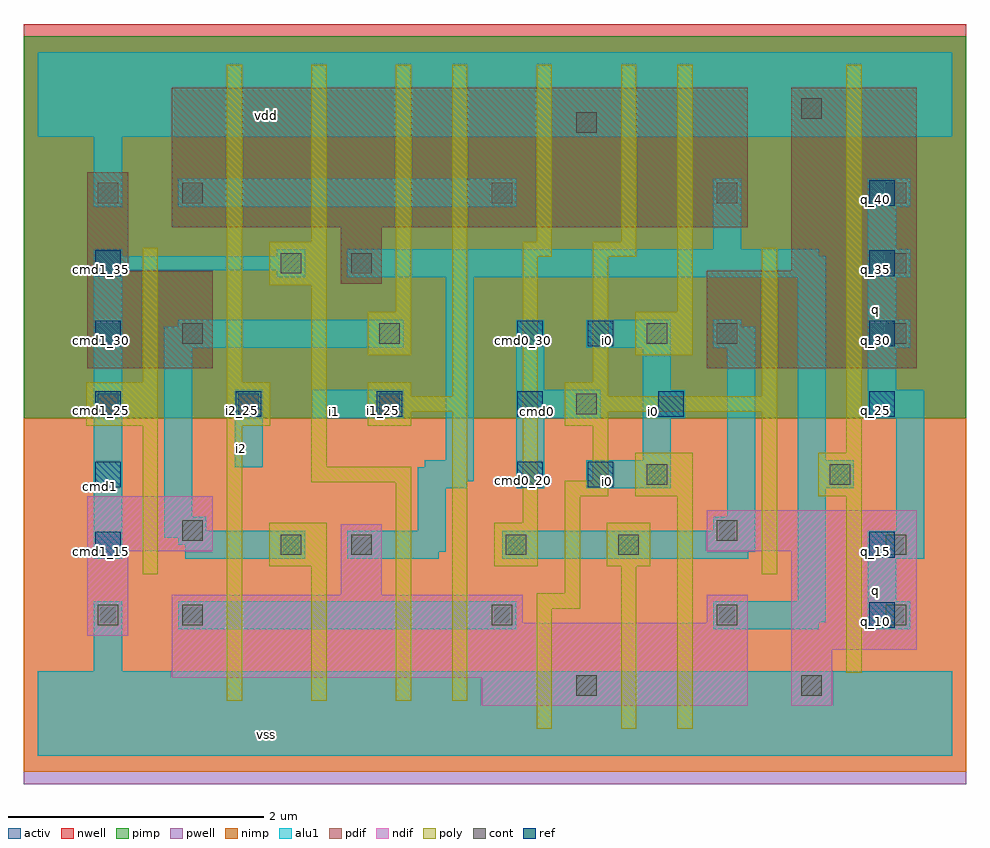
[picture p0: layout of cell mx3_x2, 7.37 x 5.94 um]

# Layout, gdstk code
import gdstk
lib = gdstk.Library(unit=1e-6, precision=2.5e-09)
def R(c, l, rs):  # rectangles x0, y0, x1, y1
    for r in rs: c.add(gdstk.rectangle(r[:2], r[2:], *l))
def A(c, l, x, y, w, h, nx, ny, dx, dy):  # array of equal rectangles
    R(c, l, [(x+i*dx, y+j*dy, x+i*dx+w, y+j*dy+h) for i in range(nx) for j in range(ny)])
ndif = (3, 0)
pdif = (4, 0)
ref = (24, 0)
cont = (25, 0)
pwell = (41, 0)
nwell = (42, 0)
activ = (43, 0)
pimp = (44, 0)
nimp = (45, 0)
poly = (46, 0)
alu1 = (49, 0)

mx3_x2 = lib.new_cell('mx3_x2')
R(mx3_x2, ndif, [(3.47,0.39,5.55,0.61), (3.47,0.39,5.55,0.61), (5.89,0.39,6.21,0.83), (5.89,0.39,6.21,0.83), (1.05,0.61,5.55,1.04), (1.05,0.61,5.55,1.04), (5.89,0.83,6.87,1.6), (5.89,0.83,6.87,1.6), (0.39,0.94,0.71,1.6), (0.39,0.94,0.71,1.6), (1.05,1.04,3.79,1.26), (1.05,1.04,3.79,1.26), (5.23,1.04,5.55,1.26), (5.23,1.04,5.55,1.26), (2.37,1.26,2.69,1.81), (2.37,1.26,2.69,1.81), (0.39,1.6,1.37,2.03), (0.39,1.6,1.37,2.03), (5.23,1.6,6.87,1.92), (5.23,1.6,6.87,1.92)])
R(mx3_x2, pdif, [(0.39,3.03,1.37,3.79), (0.39,3.03,1.37,3.79), (5.23,3.03,6.87,3.79), (5.23,3.03,6.87,3.79), (2.37,3.69,2.69,4.13), (2.37,3.69,2.69,4.13), (0.39,3.79,0.71,4.56), (0.39,3.79,0.71,4.56), (5.89,3.79,6.87,5.22), (5.89,3.79,6.87,5.22), (1.05,4.13,5.55,5.22), (1.05,4.13,5.55,5.22)])
A(mx3_x2, ref, 0.45, 2.65, 0.2, 0.2, 5, 1, 1.1, 0)
A(mx3_x2, ref, 6.5, 2.65, 0.2, 0.2, 1, 4, 0, 0.55)
R(mx3_x2, ref, [(6.5,1,6.7,1.2), (0.45,1.55,0.65,1.75), (6.5,1.55,6.7,1.75), (0.45,2.1,0.65,2.3), (3.75,2.1,3.95,2.3), (4.3,2.1,4.5,2.3), (0.45,3.2,0.65,3.4), (3.75,3.2,3.95,3.4), (4.3,3.2,4.5,3.4), (0.45,3.75,0.65,3.95)])
A(mx3_x2, cont, 4.21, 0.47, 0.16, 0.16, 1, 3, 0, 2.2)
A(mx3_x2, cont, 0.47, 2.67, 0.16, 0.16, 3, 1, 1.1, 0)
A(mx3_x2, cont, 6.63, 3.22, 0.16, 0.16, 1, 3, 0, 0.55)
R(mx3_x2, cont, [(5.97,0.47,6.13,0.63), (0.47,1.02,0.63,1.18), (1.13,1.02,1.29,1.18), (3.55,1.02,3.71,1.18), (5.31,1.02,5.47,1.18), (6.63,1.02,6.79,1.18), (1.9,1.57,2.06,1.73), (2.45,1.57,2.61,1.73), (3.66,1.57,3.82,1.73), (4.54,1.57,4.7,1.73), (6.63,1.57,6.79,1.73), (1.13,1.68,1.29,1.84), (5.31,1.68,5.47,1.84), (4.76,2.12,4.92,2.28), (6.19,2.12,6.35,2.28), (1.13,3.22,1.29,3.38), (2.67,3.22,2.83,3.38), (4.76,3.22,4.92,3.38), (5.31,3.22,5.47,3.38), (1.9,3.77,2.06,3.93), (2.45,3.77,2.61,3.93), (0.47,4.32,0.63,4.48), (1.13,4.32,1.29,4.48), (3.55,4.32,3.71,4.48), (5.31,4.32,5.47,4.48), (5.97,4.98,6.13,5.14)])
R(mx3_x2, pwell, [(-0.11,-0.22,7.26,2.64)])
R(mx3_x2, nwell, [(-0.11,2.64,7.26,5.72)])
R(mx3_x2, activ, [(3.47,0.39,5.55,0.61), (3.47,0.39,5.55,0.61), (5.89,0.39,6.21,0.83), (5.89,0.39,6.21,0.83), (1.05,0.61,5.55,1.04), (1.05,0.61,5.55,1.04), (5.89,0.83,6.87,1.6), (5.89,0.83,6.87,1.6), (0.39,0.94,0.71,1.6), (0.39,0.94,0.71,1.6), (1.05,1.04,3.79,1.26), (1.05,1.04,3.79,1.26), (5.23,1.04,5.55,1.26), (5.23,1.04,5.55,1.26), (2.37,1.26,2.69,1.81), (2.37,1.26,2.69,1.81), (0.39,1.6,1.37,2.03), (0.39,1.6,1.37,2.03), (5.23,1.6,6.87,1.92), (5.23,1.6,6.87,1.92), (0.39,3.03,1.37,3.79), (0.39,3.03,1.37,3.79), (5.23,3.03,6.87,3.79), (5.23,3.03,6.87,3.79), (2.37,3.69,2.69,4.13), (2.37,3.69,2.69,4.13), (0.39,3.79,0.71,4.56), (0.39,3.79,0.71,4.56), (5.89,3.79,6.87,5.22), (5.89,3.79,6.87,5.22), (1.05,4.13,5.55,5.22), (1.05,4.13,5.55,5.22)])
R(mx3_x2, pimp, [(-0.11,2.64,7.26,5.625)])
R(mx3_x2, nimp, [(-0.11,-0.125,7.26,2.64)])
R(mx3_x2, poly, [(3.9,0.21,4.02,1.15), (4.56,0.21,4.68,1.48), (5,0.21,5.12,2.03), (1.48,0.43,1.6,2.58), (2.14,0.43,2.26,1.48), (2.8,0.43,2.92,2.14), (3.24,0.43,3.36,2.69), (6.32,0.65,6.44,2.03), (3.9,1.15,4.24,1.27), (4.12,1.27,4.24,2.03), (0.82,1.42,0.94,2.58), (5.66,1.42,5.78,2.69), (1.81,1.48,2.26,1.82), (3.57,1.48,3.91,1.82), (4.45,1.48,4.79,1.82), (3.79,1.82,3.91,3.9), (4.12,2.03,4.46,2.15), (4.67,2.03,5.12,2.37), (6.1,2.03,6.44,2.37), (2.14,2.14,2.92,2.26), (4.34,2.15,4.46,2.58), (2.14,2.26,2.26,3.68), (6.32,2.37,6.44,5.4), (0.38,2.58,0.94,2.92), (1.48,2.58,1.82,2.92), (2.58,2.58,2.92,2.69), (4.12,2.58,4.46,2.69), (2.58,2.69,3.36,2.81), (4.12,2.69,5.78,2.81), (2.58,2.81,2.92,2.92), (3.24,2.81,3.36,5.4), (4.12,2.81,4.46,2.92), (5.66,2.81,5.78,3.97), (0.82,2.92,0.94,3.97), (1.48,2.92,1.6,5.4), (4.34,2.92,4.46,3.9), (2.58,3.13,2.92,3.47), (4.67,3.13,5.12,3.47), (2.8,3.47,2.92,5.4), (5,3.47,5.12,5.4), (1.81,3.68,2.26,4.02), (3.79,3.9,4.02,4.02), (4.34,3.9,4.68,4.02), (2.14,4.02,2.26,5.4), (3.9,4.02,4.02,5.4), (4.56,4.02,4.68,5.4)])
A(mx3_x2, alu1, 6.49, 2.86, 0.22, 0.33, 1, 3, 0, 0.55)
A(mx3_x2, alu1, 6.49, 3.19, 0.33, 0.22, 1, 3, 0, 0.55)
R(mx3_x2, alu1, [(0,0,7.15,0.66), (0.44,0.66,0.66,1.21), (1.1,0.99,3.74,1.21), (5.28,0.99,6.105,1.045), (6.49,0.99,6.82,1.21), (5.28,1.045,6.16,1.21), (5.94,1.21,6.16,2.09), (6.49,1.21,6.71,1.54), (0.44,1.54,0.66,3.795), (1.155,1.54,2.09,1.65), (2.42,1.54,3.135,1.595), (3.63,1.54,5.555,1.595), (6.49,1.54,6.93,1.76), (2.42,1.595,3.19,1.76), (3.63,1.595,5.61,1.76), (1.1,1.65,2.09,1.705), (0.99,1.705,2.09,1.76), (0.99,1.76,1.32,1.87), (2.97,1.76,3.19,2.09), (5.28,1.76,5.61,1.87), (6.71,1.76,6.93,2.64), (0.99,1.87,1.21,3.19), (5.39,1.87,5.61,3.19), (2.97,2.09,3.355,2.145), (3.74,2.09,3.96,2.64), (4.29,2.09,4.95,2.31), (5.94,2.09,6.38,2.31), (2.97,2.145,3.41,2.255), (1.54,2.255,1.76,2.86), (3.025,2.255,3.41,2.31), (3.19,2.31,3.41,3.74), (4.73,2.31,4.95,2.64), (5.94,2.31,6.16,3.74), (2.145,2.64,2.86,2.86), (3.74,2.64,4.4,2.86), (4.73,2.64,5.06,2.86), (6.49,2.64,6.93,2.86), (3.74,2.86,3.96,3.41), (4.73,2.86,4.95,3.19), (0.99,3.19,2.86,3.355), (4.29,3.19,4.95,3.41), (5.28,3.19,5.61,3.355), (1.1,3.355,2.86,3.41), (5.28,3.355,5.5,3.41), (1.87,3.74,2.09,3.795), (2.42,3.74,6.16,3.905), (0.44,3.795,2.09,3.905), (0.44,3.905,0.66,3.96), (1.87,3.905,2.09,3.96), (2.42,3.905,6.105,3.96), (5.28,3.96,5.5,4.51), (0.44,4.29,0.66,4.84), (1.1,4.29,3.74,4.51), (0,4.84,7.15,5.5)])
mx3_x2.add(gdstk.Label('vss', (1.7875,0.165), layer=49, texttype=0))
mx3_x2.add(gdstk.Label('q', (6.545,1.2925), layer=49, texttype=0))
mx3_x2.add(gdstk.Label('q', (6.545,3.4925), layer=49, texttype=0))
mx3_x2.add(gdstk.Label('i0', (4.455,2.145), layer=49, texttype=0))
mx3_x2.add(gdstk.Label('i0', (4.8125,2.695), layer=49, texttype=0))
mx3_x2.add(gdstk.Label('cmd0', (3.905,2.695), layer=49, texttype=0))
mx3_x2.add(gdstk.Label('i0', (4.455,3.245), layer=49, texttype=0))
mx3_x2.add(gdstk.Label('i1', (2.3225,2.695), layer=49, texttype=0))
mx3_x2.add(gdstk.Label('i2', (1.595,2.405), layer=49, texttype=0))
mx3_x2.add(gdstk.Label('cmd1', (0.495,2.1025), layer=49, texttype=0))
mx3_x2.add(gdstk.Label('vdd', (1.7875,5.005), layer=49, texttype=0))
mx3_x2.add(gdstk.Label('cmd1_15', (0.5,1.6), layer=24, texttype=0))
mx3_x2.add(gdstk.Label('cmd1_20', (0.5,2.15), layer=24, texttype=0))
mx3_x2.add(gdstk.Label('cmd1_25', (0.5,2.7), layer=24, texttype=0))
mx3_x2.add(gdstk.Label('cmd1_30', (0.5,3.25), layer=24, texttype=0))
mx3_x2.add(gdstk.Label('cmd1_35', (0.5,3.8), layer=24, texttype=0))
mx3_x2.add(gdstk.Label('i2_25', (1.6,2.7), layer=24, texttype=0))
mx3_x2.add(gdstk.Label('i1_25', (2.7,2.7), layer=24, texttype=0))
mx3_x2.add(gdstk.Label('cmd0_20', (3.8,2.15), layer=24, texttype=0))
mx3_x2.add(gdstk.Label('cmd0_25', (3.8,2.7), layer=24, texttype=0))
mx3_x2.add(gdstk.Label('cmd0_30', (3.8,3.25), layer=24, texttype=0))
mx3_x2.add(gdstk.Label('i0_20', (4.35,2.15), layer=24, texttype=0))
mx3_x2.add(gdstk.Label('i0_30', (4.35,3.25), layer=24, texttype=0))
mx3_x2.add(gdstk.Label('i0_25', (4.9,2.7), layer=24, texttype=0))
mx3_x2.add(gdstk.Label('q_10', (6.55,1.05), layer=24, texttype=0))
mx3_x2.add(gdstk.Label('q_15', (6.55,1.6), layer=24, texttype=0))
mx3_x2.add(gdstk.Label('q_25', (6.55,2.7), layer=24, texttype=0))
mx3_x2.add(gdstk.Label('q_30', (6.55,3.25), layer=24, texttype=0))
mx3_x2.add(gdstk.Label('q_35', (6.55,3.8), layer=24, texttype=0))
mx3_x2.add(gdstk.Label('q_40', (6.55,4.35), layer=24, texttype=0))

lib.write_gds('mx3_x2.gds')
